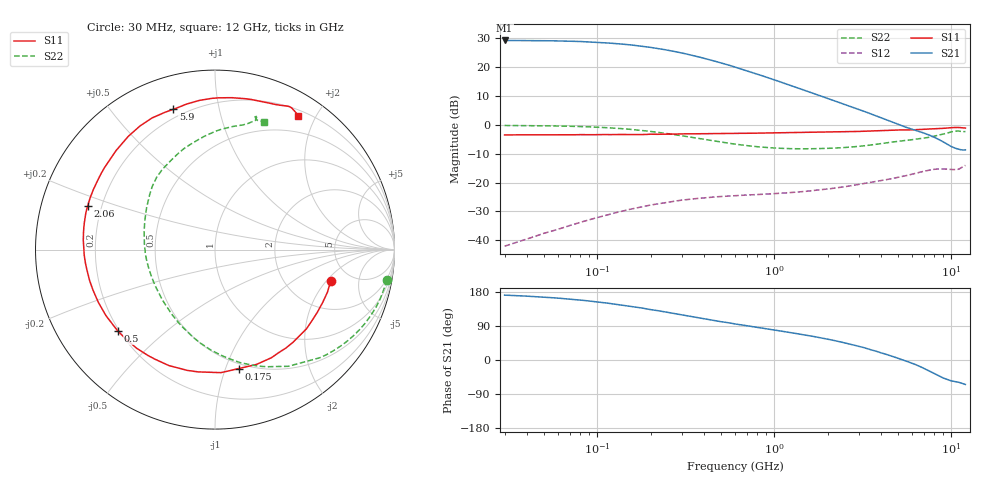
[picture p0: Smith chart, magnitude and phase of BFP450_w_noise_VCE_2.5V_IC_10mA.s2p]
! Infineon Technologies  Discrete & RF Semiconductors
! BFP450
! VCE =  2.5 V,  IC =  10 mA
! Common Emitter S-Parameters:  Nov 2015
# GHz  S  MA  R  50
!  f  S11  S21  S12  S22
! GHz  MAG  ANG  MAG  ANG  MAG  ANG  MAG  ANG
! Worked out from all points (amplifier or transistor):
!   239 points, 30 MHz to 12 GHz, reference 50 ohm
!   highest |S21| = 29.2 dB at 30 MHz (marker M1)
!   |S21| within 3 dB of that: start of sweep to 231 MHz
!   unconditionally stable (mu >= 1): 2.07 GHz to end of sweep
!   at 300 MHz: K = 0.17, MSG = 25.5 dB, |S12| = -26.1 dB
!   at 1.88 GHz: K = 0.93, MSG = 16.1 dB, |S12| = -22.4 dB
!   at 12 GHz: K = 1.14, MAG = 0.4 dB, |S12| = -14.1 dB
!   lowest NFmin = 0.98 dB at 450 MHz
!   S11 on the Smith chart (normalised r, x): 30 MHz: 3.50, -2.24; 175 MHz: 0.45, -1.11; 500 MHz: 0.19, -0.35; 2.06 GHz: 0.15, +0.16; 5.9 GHz: 0.16, +0.73; 12 GHz: 0.28, +1.77
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0.03  0.6679 -15.4  28.83 171.2  0.0079 82.0  0.9717 -10.0
0.04  0.67 -20.7  28.71 168.5  0.0105 80.7  0.9664 -13.2
0.055  0.6678 -28.8  28.46 164.5  0.0143 77.0  0.9562 -18.1
0.085  0.6729 -43.0  27.41 157.0  0.0215 70.2  0.9258 -27.6
0.105  0.675 -52.1  26.52 152.2  0.0257 66.5  0.9008 -33.5
0.125  0.6769 -60.5  25.57 147.7  0.0296 62.8  0.8737 -39.2
0.15  0.6801 -70.3  24.41 142.3  0.0339 58.5  0.839 -45.9
0.175  0.6758 -78.8  23.07 137.9  0.0372 54.5  0.7989 -51.6
0.2  0.6864 -87.2  21.88 133.0  0.0407 51.2  0.7676 -57.9
0.24  0.6878 -97.9  20.01 127.1  0.0447 46.5  0.714 -66.1
0.3  0.6953 -111.7  17.51 118.9  0.0495 40.8  0.6463 -77.3
0.36  0.698 -122.2  15.4 112.6  0.0526 36.5  0.5907 -86.5
0.4  0.7018 -128.3  14.19 108.7  0.0543 34.2  0.5604 -92.3
0.5  0.7066 -140.0  11.76 101.1  0.0573 30.1  0.5016 -104.4
0.6  0.7102 -148.8  9.958 95.1  0.0592 27.3  0.4623 -114.5
0.9  0.7197 -166.1  6.673 82.4  0.0631 23.7  0.4048 -136.7
1.2  0.7292 -177.5  4.936 73.3  0.0665 22.8  0.3867 -152.3
1.64  0.741 170.4  3.542 62.7  0.0721 22.7  0.3845 -168.9
2.06  0.7501 161.0  2.772 53.8  0.078 22.4  0.3914 178.9
4.5  0.8056 121.3  1.151 11.5  0.115 13.4  0.4965 134.7
5.9  0.8154 106.5  0.848 -7.3  0.1376 5.4  0.5478 118.3
12  0.8764 58.0  0.367 -64.5  0.1979 -38.2  0.7634 69.0
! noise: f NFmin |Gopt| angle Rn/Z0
0.45  0.98  0.18  155  -0.03
0.9  1.02  0.29  158  0.08
1.9  1.18  0.48  -176  0.07
2.4  1.44  0.51  -163  0.06
